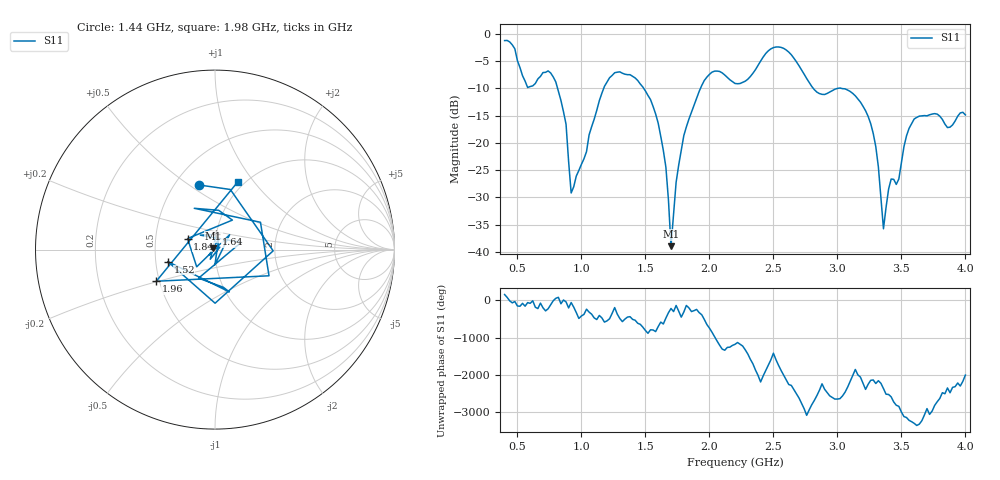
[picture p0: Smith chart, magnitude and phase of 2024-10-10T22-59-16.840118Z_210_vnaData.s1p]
! Created with skrf (http://scikit-rf.org).
# Hz S RI R 50.0
!freq ReS11 ImS11
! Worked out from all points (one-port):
!   181 points, 400 MHz to 4 GHz, reference 50 ohm
!   lowest |S11| = -38.9 dB at 1.7 GHz (marker M1), VSWR 1.02, Z = 49.1 + j0.682 ohm
!   |S11| at or under -10 dB: 813.4 MHz to 1.175 GHz (361.3 MHz wide, 36.3 % of centre); 1.486 GHz to 1.931 GHz (444.9 MHz wide, 26 % of centre); 3.026 GHz to end of sweep (the widest 3 of 4)
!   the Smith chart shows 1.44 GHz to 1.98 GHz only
!   S11 on the Smith chart (normalised r, x): 1.44 GHz: 0.65, +0.55; 1.52 GHz: 0.58, -0.08; 1.64 GHz: 1.00, +0.17; 1.84 GHz: 0.73, +0.09; 1.96 GHz: 0.48, -0.20; 1.98 GHz: 0.93, +0.84
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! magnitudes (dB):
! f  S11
! 400 MHz  -1.3
! 580 MHz  -9.9
! 760 MHz  -7.2
! 860 MHz  -14.3
! 880 MHz  -16.6
! 920 MHz  -29.2
! 1.18 GHz  -9.7
! 1.3 GHz  -7.0
! 1.44 GHz  -8.6
! 1.52 GHz  -11.3
! 1.64 GHz  -21.4
! 1.66 GHz  -24.5
! 1.7 GHz  -38.9
! 1.76 GHz  -24.1
! 1.84 GHz  -15.7
! 1.96 GHz  -8.6
! 1.98 GHz  -8.0
! 2.2 GHz  -9.1
! 2.5 GHz  -2.6
! 2.66 GHz  -4.5
! 2.84 GHz  -10.7
! 3.1 GHz  -10.6
! 3.28 GHz  -18.3
! 3.36 GHz  -35.7
! 3.42 GHz  -26.6
! 3.48 GHz  -26.6
! 3.56 GHz  -17.3
! 4 GHz  -14.9
